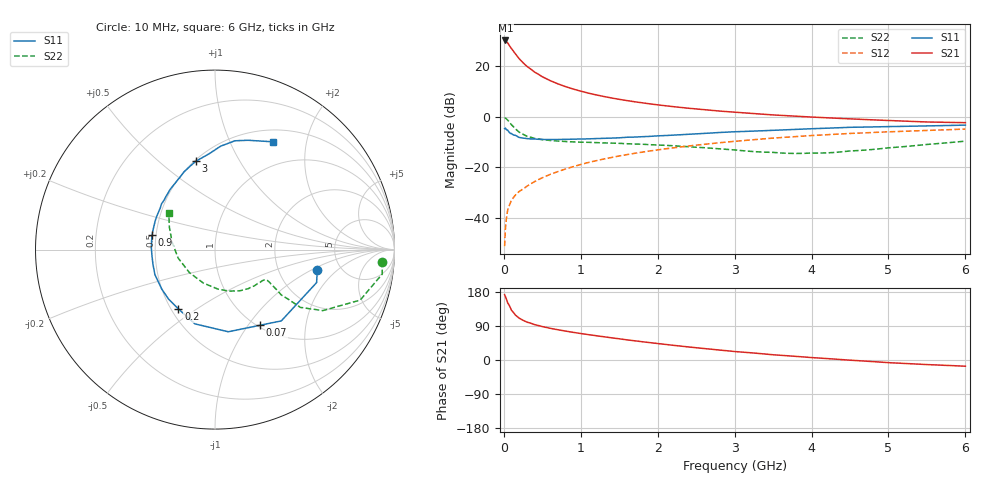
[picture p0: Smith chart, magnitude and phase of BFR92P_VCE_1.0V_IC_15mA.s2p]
! Infineon Technologies  Discrete & RF Semiconductors
! BFR92P
! VCE =  1.0 V,  IC =  15 mA
! Common Emitter S-Parameters:  Apr 2014
# GHz  S  MA  R  50
!  f  S11  S21  S12  S22
! GHz  MAG  ANG  MAG  ANG  MAG  ANG  MAG  ANG
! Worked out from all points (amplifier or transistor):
!   77 points, 10 MHz to 6 GHz, reference 50 ohm
!   highest |S21| = 30.0 dB at 20 MHz (marker M1)
!   |S21| within 3 dB of that: start of sweep to 94.53 MHz
!   unconditionally stable (mu >= 1): 388.6 MHz to 3.702 GHz
!   at 130 MHz: K = 0.57, MSG = 28.6 dB, |S12| = -31.7 dB
!   at 2.2 GHz: K = 1.08, MAG = 6.4 dB, |S12| = -12.3 dB
!   at 6 GHz: K = 0.96, MSG = 1.3 dB, |S12| = -4.9 dB
!   S11 on the Smith chart (normalised r, x): 10 MHz: 3.34, -1.16; 70 MHz: 1.03, -1.14; 200 MHz: 0.55, -0.42; 900 MHz: 0.48, +0.09; 3 GHz: 0.51, +0.67; 6 GHz: 0.65, +1.46
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0.01  0.5813 -11.4  31.51 172.4  0.0028 83.0  0.9328 -4.1
0.02  0.5952 -18.0  31.71 167.5  0.0061 81.5  0.9419 -8.3
0.05  0.5425 -47.1  28.46 150.8  0.0145 72.2  0.8565 -19.2
0.07  0.4907 -59.2  25.48 144.1  0.0176 67.6  0.787 -22.8
0.1  0.4637 -80.8  21.88 130.8  0.0224 63.1  0.6901 -29.5
0.15  0.4287 -105.0  17.3 118.7  0.0284 60.8  0.5744 -34.1
0.2  0.3884 -121.6  13.84 110.3  0.0336 59.9  0.4938 -34.1
0.25  0.378 -133.3  11.52 104.8  0.0376 61.7  0.4481 -34.4
0.3  0.3693 -143.4  9.8 100.0  0.0425 62.2  0.4111 -33.1
0.4  0.3628 -157.4  7.547 93.3  0.0524 65.1  0.373 -31.8
0.5  0.3551 -166.9  6.114 88.2  0.0624 66.4  0.3526 -30.9
0.6  0.3528 -174.6  5.144 83.8  0.0725 67.1  0.3393 -30.5
0.7  0.3547 178.8  4.443 79.9  0.0824 67.7  0.3307 -30.6
0.9  0.3597 167.2  3.504 73.0  0.1032 67.5  0.3176 -32.7
1.1  0.3647 158.6  2.903 66.9  0.1249 66.8  0.3118 -35.4
1.5  0.3825 143.1  2.192 55.9  0.1678 64.0  0.2978 -42.8
2.1  0.4242 123.9  1.64 41.2  0.2319 58.0  0.2714 -56.7
3  0.5035 102.2  1.225 22.4  0.326 47.5  0.221 -85.6
3.1  0.5092 100.3  1.194 20.8  0.3359 46.0  0.2135 -89.9
4.1  0.5845 85.3  0.965 5.1  0.4323 32.8  0.1913 -144.3
5.1  0.6397 72.0  0.828 -8.0  0.5083 19.3  0.2493 166.4
6  0.6808 61.9  0.761 -16.4  0.569 7.4  0.3286 141.7
